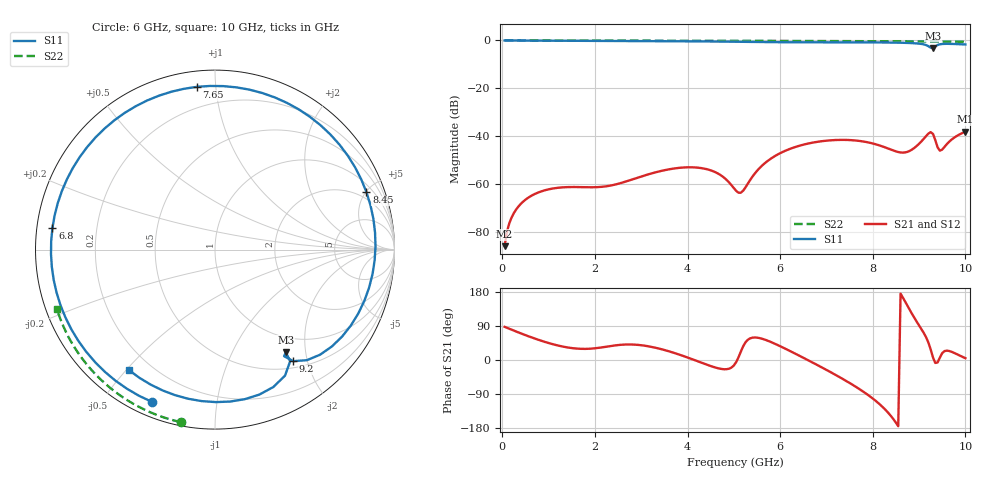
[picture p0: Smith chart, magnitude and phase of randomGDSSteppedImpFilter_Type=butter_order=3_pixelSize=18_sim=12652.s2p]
! freq	dB(S11)	phase(S11)	dB(S12)	phase(S12)
!  dB(S21)	phase(S21)	dB(S22)	phase(S22)
!S-par simulation data
#  GHz  S  DB  R 50
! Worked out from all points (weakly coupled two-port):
!   200 points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, 50 MHz to 10 GHz, reference 50 ohm
!   highest |S21| = -38.11 dB at 10 GHz (marker M1); lowest = -86.0 dB at 50 MHz (marker M2)
!   lowest |S11| = -3.2 dB at 9.3 GHz (marker M3), VSWR 5.57, Z = 37.2 - j82.5 ohm
!   |S11| at or under -10 dB: nowhere
!   |S22| runs from -0.5 to 0.0 dB; largest |S21 - S12| = 0
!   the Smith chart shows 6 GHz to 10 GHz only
!   S11 on the Smith chart (normalised r, x): 6 GHz: 0.06, -0.67; 6.8 GHz: 0.05, +0.07; 7.65 GHz: 0.08, +0.89; 8.45 GHz: 1.46, +5.04; 9.2 GHz: 0.60, -1.76; 10 GHz: 0.12, -0.51
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0.05  -0.00 -4.1  -86.03 87.5  -86.03 87.5  -0.00 -0.9
0.4  -0.04 -32.6  -68.33 70.3  -68.33 70.3  -0.01 -7.4
0.9  -0.09 -71.2  -62.76 48.5  -62.76 48.5  -0.02 -16.5
1.75  -0.14 -129.0  -61.35 29.3  -61.35 29.3  -0.04 -31.8
2.6  -0.18 179.6  -59.40 40.5  -59.40 40.5  -0.06 -46.6
3.4  -0.24 129.6  -54.70 29.7  -54.70 29.7  -0.08 -60.2
3.85  -0.30 97.5  -53.22 13.1  -53.22 13.1  -0.09 -67.6
4.25  -0.37 65.0  -53.25 -4.7  -53.25 -4.7  -0.10 -74.1
4.7  -0.48 23.1  -56.14 -22.9  -56.14 -22.9  -0.12 -81.3
5.05  -0.57 -12.8  -62.89 -5.6  -62.89 -5.6  -0.13 -86.8
5.55  -0.68 -66.2  -53.48 58.0  -53.48 58.0  -0.15 -94.5
6  -0.74 -112.5  -47.14 36.4  -47.14 36.4  -0.18 -101.3
6.7  -0.78 -178.5  -42.73 -6.7  -42.73 -6.7  -0.22 -111.6
6.8  -0.78 172.5  -42.40 -13.1  -42.40 -13.1  -0.22 -113.1
7.65  -0.80 96.3  -41.88 -71.9  -41.88 -71.9  -0.29 -125.4
8.35  -0.87 30.5  -45.34 -141.6  -45.34 -141.6  -0.35 -135.5
8.45  -0.89 20.8  -46.07 -156.9  -46.07 -156.9  -0.36 -136.9
8.85  -1.11 -18.8  -45.60 121.1  -45.60 121.1  -0.40 -142.7
9.2  -2.39 -55.0  -38.96 46.3  -38.96 46.3  -0.43 -147.8
9.3  -3.16 -55.4  -39.08 6.8  -39.08 6.8  -0.44 -149.2
9.45  -1.60 -67.0  -46.11 6.7  -46.11 6.7  -0.46 -151.4
10  -1.67 -125.5  -38.11 4.7  -38.11 4.7  -0.53 -159.5
